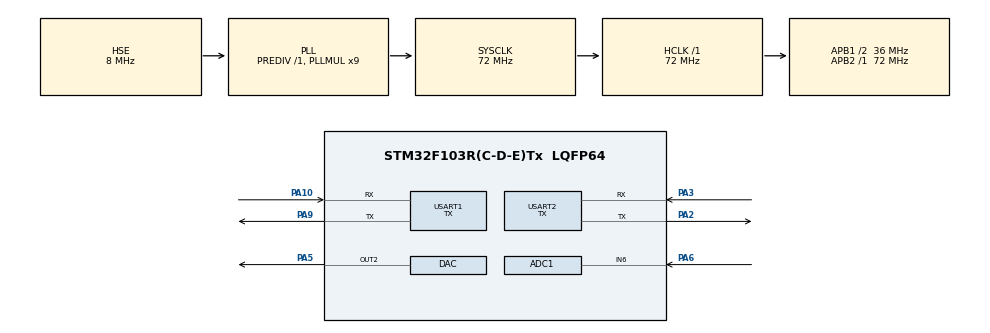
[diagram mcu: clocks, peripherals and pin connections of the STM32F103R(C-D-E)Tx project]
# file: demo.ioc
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ADC1.Channel-1\#ChannelRegularConversion=ADC_CHANNEL_6
ADC1.ContinuousConvMode=DISABLE
ADC1.NbrOfConversion=1
ADC1.NbrOfConversionFlag=1
ADC1.Rank-1\#ChannelRegularConversion=1
ADC1.SamplingTime-1\#ChannelRegularConversion=ADC_SAMPLETIME_239CYCLES_5
ADC1.master=1
Mcu.Family=STM32F1
Mcu.Name=STM32F103R(C-D-E)Tx
Mcu.Package=LQFP64
NVIC.ADC1_2_IRQn=true\:0\:0\:false\:false\:true\:true\:true\:true
NVIC.PriorityGroup=NVIC_PRIORITYGROUP_4
NVIC.TIM7_IRQn=true\:0\:0\:false\:false\:true\:true\:true\:true
PA10.Mode=Asynchronous
PA10.Signal=USART1_RX
PA13.Mode=Serial_Wire
PA13.Signal=SYS_JTMS-SWDIO
PA14.Mode=Serial_Wire
PA14.Signal=SYS_JTCK-SWCLK
PA2.Mode=Asynchronous
PA2.Signal=USART2_TX
PA3.Mode=Asynchronous
PA3.Signal=USART2_RX
PA5.Signal=COMP_DAC2_group
PA6.Signal=ADCx_IN6
PA9.Mode=Asynchronous
PA9.Signal=USART1_TX
PD0-OSC_IN.Mode=HSE-External-Oscillator
PD0-OSC_IN.Signal=RCC_OSC_IN
PD1-OSC_OUT.Mode=HSE-External-Oscillator
PD1-OSC_OUT.Signal=RCC_OSC_OUT
ProjectManager.HeapSize=0x200
ProjectManager.StackSize=0x400
ProjectManager.TargetToolchain=MDK-ARM V5
RCC.ADCPresc=RCC_ADCPCLK2_DIV6
RCC.AHBFreq_Value=72000000
RCC.APB1CLKDivider=RCC_HCLK_DIV2
RCC.APB1Freq_Value=36000000
RCC.APB1TimFreq_Value=72000000
RCC.APB2Freq_Value=72000000
RCC.APB2TimFreq_Value=72000000
RCC.HCLKFreq_Value=72000000
RCC.PLLMUL=RCC_PLL_MUL9
RCC.PLLSourceVirtual=RCC_PLLSOURCE_HSE
RCC.SYSCLKFreq_VALUE=72000000
RCC.SYSCLKSource=RCC_SYSCLKSOURCE_PLLCLK
RCC.USBFreq_Value=72000000
SH.ADCx_IN6.0=ADC1_IN6,IN6
SH.COMP_DAC2_group.0=DAC_OUT2,DAC_OUT2
TIM7.Period=2000-1
TIM7.Prescaler=72-1
USART1.Mode=MODE_TX
USART1.VirtualMode=VM_ASYNC
USART2.Mode=MODE_TX
USART2.VirtualMode=VM_ASYNC
VP_TIM7_VS_ClockSourceINT.Mode=Enable_Timer
board=custom

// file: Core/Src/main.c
/* USER CODE BEGIN Header */
/**
 ******************************************************************************
 * @file           : main.c
 * @brief          : Main program body
 ******************************************************************************
 * @attention
 *
 * <h2><center>&copy; Copyright (c) 2022 STMicroelectronics.
 * All rights reserved.</center></h2>
 *
 * This software component is licensed by ST under BSD 3-Clause license,
 * the "License"; You may not use this file except in compliance with the
 * License. You may obtain a copy of the License at:
 *                        opensource.org/licenses/BSD-3-Clause
 *
 ******************************************************************************
 */
/* USER CODE END Header */
#include "main.h"
#include "adc.h"
#include "dac.h"
#include "tim.h"
#include "usart.h"
#include "gpio.h"

/* USER CODE BEGIN Includes */
#include "math.h"
/* USER CODE END Includes */

void SystemClock_Config(void);

/* USER CODE BEGIN 0 */

void HAL_TIM_PeriodElapsedCallback(TIM_HandleTypeDef* htim)
{
    HAL_ADC_Start_IT(&hadc1);
}

void HAL_ADC_ConvCpltCallback(ADC_HandleTypeDef* hadc)
{
    printf("%d\r\n", HAL_ADC_GetValue(&hadc1));
}

/* USER CODE END 0 */

int main(void)
{

    /* MCU Configuration--------------------------------------------------------*/

    /* Reset of all peripherals, Initializes the Flash interface and the Systick. */
    HAL_Init();

    /* Configure the system clock */
    SystemClock_Config();

    /* Initialize all configured peripherals */
    MX_GPIO_Init();
    MX_DAC_Init();
    MX_USART1_UART_Init();
    MX_USART2_UART_Init();
    MX_ADC1_Init();
    MX_TIM7_Init();
    /* USER CODE BEGIN 2 */
    HAL_ADCEx_Calibration_Start(&hadc1);
    HAL_TIM_Base_Start_IT(&htim7);  // fs=500hz
    HAL_DAC_Start(&hdac, DAC_CHANNEL_2);
    /* USER CODE END 2 */

    /* Infinite loop */
    /* USER CODE BEGIN WHILE */
    uint8_t dir  = 0;
    double  x    = 1.8165;
    double  step = 0.004;
    while (1) {
        double y = (pow(x, 0.6666) + 0.9 * sqrt(3.3 - pow(x, 2)) * sin(31.41592 * x)) * 900 + 1100;

        HAL_DAC_SetValue(&hdac, DAC_CHANNEL_2, DAC_ALIGN_12B_R, y);

        if (dir == 0) {
            x -= step;
        } else {
            x += step;
        }

        if (x <= 0)
            dir = 1;
        else if (x == 1.8165) {
            dir = 0;
            HAL_Delay(500);  // 5s
        }

        /* USER CODE END WHILE */

    }
}

void SystemClock_Config(void)
{
    RCC_OscInitTypeDef       RCC_OscInitStruct = {0};
    RCC_ClkInitTypeDef       RCC_ClkInitStruct = {0};
    RCC_PeriphCLKInitTypeDef PeriphClkInit     = {0};

    /** Initializes the RCC Oscillators according to the specified parameters
     * in the RCC_OscInitTypeDef structure.
     */
    RCC_OscInitStruct.OscillatorType = RCC_OSCILLATORTYPE_HSE;
    RCC_OscInitStruct.HSEState       = RCC_HSE_ON;
    RCC_OscInitStruct.HSEPredivValue = RCC_HSE_PREDIV_DIV1;
    RCC_OscInitStruct.HSIState       = RCC_HSI_ON;
    RCC_OscInitStruct.PLL.PLLState   = RCC_PLL_ON;
    RCC_OscInitStruct.PLL.PLLSource  = RCC_PLLSOURCE_HSE;
    RCC_OscInitStruct.PLL.PLLMUL     = RCC_PLL_MUL9;
    if (HAL_RCC_OscConfig(&RCC_OscInitStruct) != HAL_OK) {
        Error_Handler();
    }

    /** Initializes the CPU, AHB and APB buses clocks
     */
    RCC_ClkInitStruct.ClockType      = RCC_CLOCKTYPE_HCLK | RCC_CLOCKTYPE_SYSCLK | RCC_CLOCKTYPE_PCLK1 | RCC_CLOCKTYPE_PCLK2;
    RCC_ClkInitStruct.SYSCLKSource   = RCC_SYSCLKSOURCE_PLLCLK;
    RCC_ClkInitStruct.AHBCLKDivider  = RCC_SYSCLK_DIV1;
    RCC_ClkInitStruct.APB1CLKDivider = RCC_HCLK_DIV2;
    RCC_ClkInitStruct.APB2CLKDivider = RCC_HCLK_DIV1;

    if (HAL_RCC_ClockConfig(&RCC_ClkInitStruct, FLASH_LATENCY_2) != HAL_OK) {
        Error_Handler();
    }
    PeriphClkInit.PeriphClockSelection = RCC_PERIPHCLK_ADC;
    PeriphClkInit.AdcClockSelection    = RCC_ADCPCLK2_DIV6;
    if (HAL_RCCEx_PeriphCLKConfig(&PeriphClkInit) != HAL_OK) {
        Error_Handler();
    }
}

void Error_Handler(void)
{
}
